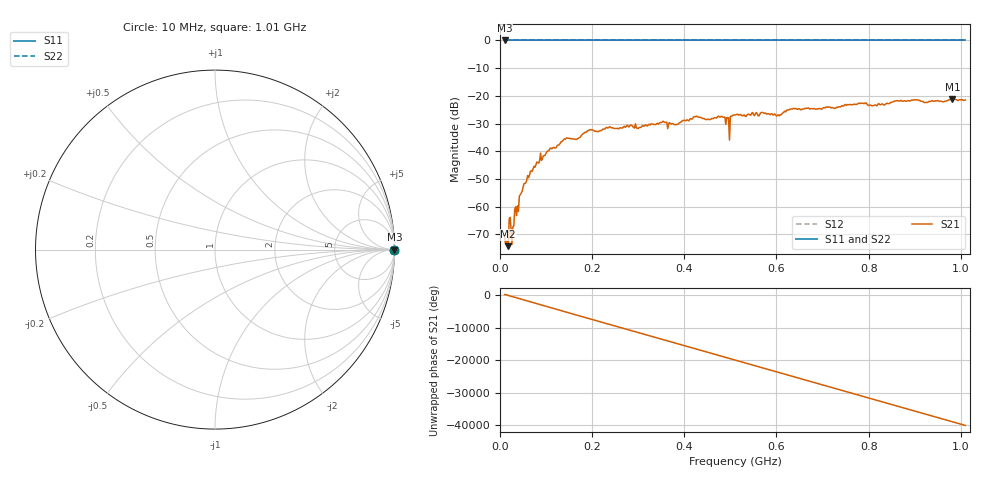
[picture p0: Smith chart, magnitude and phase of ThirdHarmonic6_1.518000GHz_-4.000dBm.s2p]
! 8/16/2025 5:54:17 PM
! C:\ANRITSUVNA\TEMP\TEMP.S2P
! CHANNEL.1
! TR.MEASUREMENT
! RAW.DATA
! RF.CORRECTION.OFF
! AVERAGING.OFF
! IF.BANDWIDTH: 5KHZ
! SWEEPTYPE:  FREQ.SWEEP(Linear)
! Reference Plane Port Info
! PORT:  PORT1  PORT2
! DISTANCE:  0  m  0  m
! TIME:  0  s  0  s
! PHASE.OFFSET:  0  deg.  0  deg.
! LOSS:  0  dB  0  dB
! REF.LOSS:  0  dB  0  dB
! REF.FREQ:  0  Hz  0  Hz
! Power Info
! POWER:  -20  dBm  -20  dBm
! EFF.POWER:  -20  dBm  -20  dBm
! SOURCE.ATTEN:  0  dB  0  dB
! TEST.ATTEN:  0  dB  0  dB
# GHZ S RI R 50.0
! FREQ.GHZ  S11RE  S11IM  S21RE  S21IM  S12RE  S12IM  S22RE  S22IM
!; PortSelection: Port_12
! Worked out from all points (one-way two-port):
!   501 points, 10 MHz to 1.01 GHz, reference 50 ohm
!   highest |S21| = -21.19 dB at 982 MHz (marker M1); lowest = -74.3 dB at 18 MHz (marker M2)
!   lowest |S11| = 0.0 dB at 10 MHz (marker M3)
!   |S11| at or under -10 dB: nowhere
!   |S22| runs from 0.0 to 0.0 dB; largest |S21 - S12| = 1.1
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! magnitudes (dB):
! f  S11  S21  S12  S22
! 10 MHz  0.0  -70.5  0.0  0.0
! 14 MHz  0.0  -72.6  0.0  0.0
! 18 MHz  0.0  -74.3  0.0  0.0
! 28 MHz  0.0  -67.3  0.0  0.0
! 46 MHz  0.0  -55.2  0.0  0.0
! 56 MHz  0.0  -51.4  0.0  0.0
! 84 MHz  0.0  -44.3  0.0  0.0
! 142 MHz  0.0  -35.7  0.0  0.0
! 178 MHz  0.0  -34.1  0.0  0.0
! 196 MHz  0.0  -32.2  0.0  0.0
! 344 MHz  0.0  -30.2  0.0  0.0
! 382 MHz  0.0  -30.4  0.0  0.0
! 478 MHz  0.0  -27.7  0.0  0.0
! 492 MHz  0.0  -27.8  0.0  0.0
! 494 MHz  0.0  -27.9  0.0  0.0
! 510 MHz  0.0  -26.9  0.0  0.0
! 604 MHz  0.0  -26.9  0.0  0.0
! 634 MHz  0.0  -24.8  0.0  0.0
! 678 MHz  0.0  -24.7  0.0  0.0
! 844 MHz  0.0  -22.8  0.0  0.0
! 982 MHz  0.0  -21.2  0.0  0.0
! 1.01 GHz  0.0  -21.5  0.0  0.0
